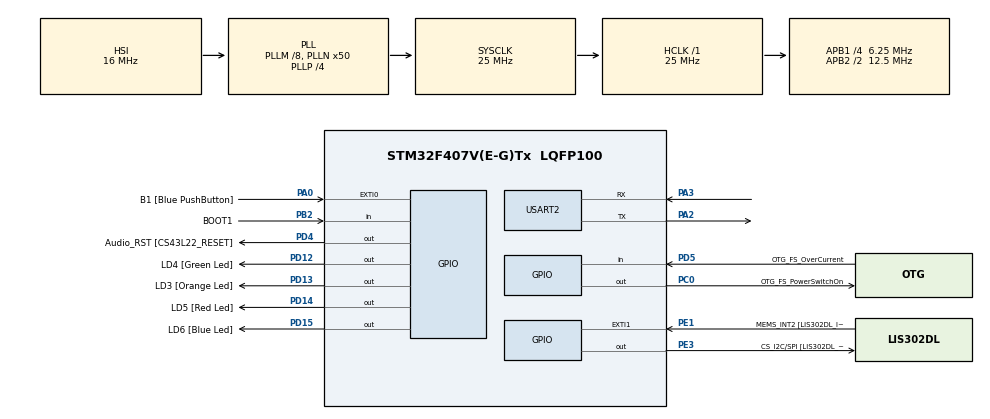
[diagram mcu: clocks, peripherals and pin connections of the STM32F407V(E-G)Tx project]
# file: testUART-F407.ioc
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Dma.Request0=USART2_RX
Dma.Request1=USART2_TX
Dma.USART2_RX.0.Direction=DMA_PERIPH_TO_MEMORY
Dma.USART2_RX.0.FIFOMode=DMA_FIFOMODE_DISABLE
Dma.USART2_RX.0.Instance=DMA1_Stream5
Dma.USART2_RX.0.MemDataAlignment=DMA_MDATAALIGN_BYTE
Dma.USART2_RX.0.MemInc=DMA_MINC_ENABLE
Dma.USART2_RX.0.Mode=DMA_CIRCULAR
Dma.USART2_RX.0.PeriphDataAlignment=DMA_PDATAALIGN_BYTE
Dma.USART2_RX.0.PeriphInc=DMA_PINC_DISABLE
Dma.USART2_RX.0.Priority=DMA_PRIORITY_LOW
Dma.USART2_TX.1.Direction=DMA_MEMORY_TO_PERIPH
Dma.USART2_TX.1.FIFOMode=DMA_FIFOMODE_DISABLE
Dma.USART2_TX.1.Instance=DMA1_Stream6
Dma.USART2_TX.1.MemDataAlignment=DMA_MDATAALIGN_BYTE
Dma.USART2_TX.1.MemInc=DMA_MINC_ENABLE
Dma.USART2_TX.1.Mode=DMA_NORMAL
Dma.USART2_TX.1.PeriphDataAlignment=DMA_PDATAALIGN_BYTE
Dma.USART2_TX.1.PeriphInc=DMA_PINC_DISABLE
Dma.USART2_TX.1.Priority=DMA_PRIORITY_LOW
Mcu.Family=STM32F4
Mcu.Name=STM32F407V(E-G)Tx
Mcu.Package=LQFP100
NVIC.DMA1_Stream5_IRQn=true\:0\:0\:false\:false\:true\:false\:true\:true
NVIC.DMA1_Stream6_IRQn=true\:0\:0\:false\:false\:true\:false\:true\:true
NVIC.PriorityGroup=NVIC_PRIORITYGROUP_4
NVIC.USART2_IRQn=true\:0\:0\:false\:false\:true\:true\:true\:true
PA0-WKUP.GPIO_Label=B1 [Blue PushButton]
PA0-WKUP.Signal=GPXTI0
PA10.GPIO_Label=OTG_FS_ID
PA10.GPIO_Mode=GPIO_MODE_AF_PP
PA10.GPIO_PuPd=GPIO_NOPULL
PA10.GPIO_Speed=GPIO_SPEED_FREQ_LOW
PA10.Signal=USB_OTG_FS_ID
PA11.GPIO_Label=OTG_FS_DM
PA11.GPIO_Mode=GPIO_MODE_AF_PP
PA11.GPIO_PuPd=GPIO_NOPULL
PA11.GPIO_Speed=GPIO_SPEED_FREQ_LOW
PA11.Signal=USB_OTG_FS_DM
PA12.GPIO_Label=OTG_FS_DP
PA12.GPIO_Mode=GPIO_MODE_AF_PP
PA12.GPIO_PuPd=GPIO_NOPULL
PA12.GPIO_Speed=GPIO_SPEED_FREQ_LOW
PA12.Signal=USB_OTG_FS_DP
PA13.GPIO_Label=SWDIO
PA13.Signal=SYS_JTMS-SWDIO
PA14.GPIO_Label=SWCLK
PA14.Signal=SYS_JTCK-SWCLK
PA2.Mode=Asynchronous
PA2.Signal=USART2_TX
PA3.Mode=Asynchronous
PA3.Signal=USART2_RX
PA4.GPIO_Label=I2S3_WS [CS43L22_LRCK]
PA4.GPIO_Mode=GPIO_MODE_AF_PP
PA4.GPIO_PuPd=GPIO_NOPULL
PA4.GPIO_Speed=GPIO_SPEED_FREQ_LOW
PA4.Signal=I2S3_WS
PA5.GPIO_Label=SPI1_SCK [LIS302DL_SCL/SPC]
PA5.GPIO_Mode=GPIO_MODE_AF_PP
PA5.GPIO_PuPd=GPIO_NOPULL
PA5.GPIO_Speed=GPIO_SPEED_FREQ_LOW
PA5.Signal=SPI1_SCK
PA6.GPIO_Label=SPI1_MISO [LIS302DL_SDO]
PA6.GPIO_Mode=GPIO_MODE_AF_PP
PA6.GPIO_PuPd=GPIO_NOPULL
PA6.GPIO_Speed=GPIO_SPEED_FREQ_LOW
PA6.Signal=SPI1_MISO
PA7.GPIO_Label=SPI1_MOSI [LIS302DL_SDA/SDI/SDO]
PA7.GPIO_Mode=GPIO_MODE_AF_PP
PA7.GPIO_PuPd=GPIO_NOPULL
PA7.GPIO_Speed=GPIO_SPEED_FREQ_LOW
PA7.Signal=SPI1_MOSI
PA9.GPIO_Label=VBUS_FS
PA9.GPIO_Mode=GPIO_MODE_INPUT
PA9.GPIO_PuPd=GPIO_NOPULL
PA9.Signal=USB_OTG_FS_VBUS
PB10.GPIO_Label=CLK_IN [MP45DT02_CLK]
PB10.GPIO_Mode=GPIO_MODE_AF_PP
PB10.GPIO_PuPd=GPIO_NOPULL
PB10.GPIO_Speed=GPIO_SPEED_FREQ_LOW
PB10.Signal=I2S2_CK
PB2.GPIO_Label=BOOT1
PB2.GPIO_Mode=GPIO_MODE_INPUT
PB2.GPIO_PuPd=GPIO_NOPULL
PB2.Signal=GPIO_Input
PB3.GPIO_Label=SWO
PB3.Signal=SYS_JTDO-SWO
PB6.GPIO_Label=Audio_SCL [CS43L22_SCL]
PB6.GPIO_Mode=GPIO_MODE_AF_OD
PB6.GPIO_PuPd=GPIO_NOPULL
PB6.GPIO_Speed=GPIO_SPEED_FREQ_LOW
PB6.Signal=I2C1_SCL
PB9.GPIO_Label=Audio_SDA [CS43L22_SDA]
PB9.GPIO_Mode=GPIO_MODE_AF_OD
PB9.GPIO_PuPd=GPIO_NOPULL
PB9.GPIO_Speed=GPIO_SPEED_FREQ_LOW
PB9.Signal=I2C1_SDA
PC0.GPIO_Label=OTG_FS_PowerSwitchOn
PC0.GPIO_PuPd=GPIO_NOPULL
PC0.GPIO_Speed=GPIO_SPEED_FREQ_LOW
PC0.PinState=GPIO_PIN_SET
PC0.Signal=GPIO_Output
PC10.GPIO_Label=I2S3_SCK [CS43L22_SCLK]
PC10.GPIO_Mode=GPIO_MODE_AF_PP
PC10.GPIO_PuPd=GPIO_NOPULL
PC10.GPIO_Speed=GPIO_SPEED_FREQ_LOW
PC10.Signal=I2S3_CK
PC12.GPIO_Label=I2S3_SD [CS43L22_SDIN]
PC12.GPIO_Mode=GPIO_MODE_AF_PP
PC12.GPIO_PuPd=GPIO_NOPULL
PC12.GPIO_Speed=GPIO_SPEED_FREQ_LOW
PC12.Signal=I2S3_SD
PC14-OSC32_IN.GPIO_Label=PC14-OSC32_IN
PC14-OSC32_IN.Signal=RCC_OSC32_IN
PC15-OSC32_OUT.GPIO_Label=PC15-OSC32_OUT
PC15-OSC32_OUT.Signal=RCC_OSC32_OUT
PC3.GPIO_Label=PDM_OUT [MP45DT02_DOUT]
PC3.GPIO_Mode=GPIO_MODE_AF_PP
PC3.GPIO_PuPd=GPIO_NOPULL
PC3.GPIO_Speed=GPIO_SPEED_FREQ_LOW
PC3.Signal=I2S2_SD
PC7.GPIO_Label=I2S3_MCK [CS43L22_MCLK]
PC7.GPIO_Mode=GPIO_MODE_AF_PP
PC7.GPIO_PuPd=GPIO_NOPULL
PC7.GPIO_Speed=GPIO_SPEED_FREQ_LOW
PC7.Signal=I2S3_MCK
PD12.GPIO_Label=LD4 [Green Led]
PD12.GPIO_PuPd=GPIO_NOPULL
PD12.GPIO_Speed=GPIO_SPEED_FREQ_LOW
PD12.Signal=GPIO_Output
PD13.GPIO_Label=LD3 [Orange Led]
PD13.GPIO_PuPd=GPIO_NOPULL
PD13.GPIO_Speed=GPIO_SPEED_FREQ_LOW
PD13.Signal=GPIO_Output
PD14.GPIO_Label=LD5 [Red Led]
PD14.GPIO_PuPd=GPIO_NOPULL
PD14.GPIO_Speed=GPIO_SPEED_FREQ_LOW
PD14.Signal=GPIO_Output
PD15.GPIO_Label=LD6 [Blue Led]
PD15.GPIO_PuPd=GPIO_NOPULL
PD15.GPIO_Speed=GPIO_SPEED_FREQ_LOW
PD15.Signal=GPIO_Output
PD4.GPIO_Label=Audio_RST [CS43L22_RESET]
PD4.GPIO_PuPd=GPIO_NOPULL
PD4.GPIO_Speed=GPIO_SPEED_FREQ_LOW
PD4.Signal=GPIO_Output
PD5.GPIO_Label=OTG_FS_OverCurrent
PD5.GPIO_Mode=GPIO_MODE_INPUT
PD5.GPIO_PuPd=GPIO_NOPULL
PD5.Signal=GPIO_Input
PE1.GPIO_Label=MEMS_INT2 [LIS302DL_INT2]
PE1.GPIO_ModeDefaultEXTI=GPIO_MODE_EVT_RISING
PE1.GPIO_PuPd=GPIO_NOPULL
PE1.Signal=GPXTI1
PE3.GPIO_Label=CS_I2C/SPI [LIS302DL_CS_I2C/SPI]
PE3.GPIO_PuPd=GPIO_NOPULL
PE3.GPIO_Speed=GPIO_SPEED_FREQ_LOW
PE3.Signal=GPIO_Output
PH0-OSC_IN.GPIO_Label=PH0-OSC_IN
PH0-OSC_IN.Signal=RCC_OSC_IN
PH1-OSC_OUT.GPIO_Label=PH1-OSC_OUT
PH1-OSC_OUT.Signal=RCC_OSC_OUT
ProjectManager.HeapSize=0x200
ProjectManager.StackSize=0x400
ProjectManager.TargetToolchain=MDK-ARM V5.32
RCC.48MHZClocksFreq_Value=14285714.285714285
RCC.AHBFreq_Value=25000000
RCC.APB1CLKDivider=RCC_HCLK_DIV4
RCC.APB1Freq_Value=6250000
RCC.APB1TimFreq_Value=12500000
RCC.APB2CLKDivider=RCC_HCLK_DIV2
RCC.APB2Freq_Value=12500000
RCC.APB2TimFreq_Value=25000000
RCC.CortexFreq_Value=25000000
RCC.HCLKFreq_Value=25000000
RCC.HSE_VALUE=8000000
RCC.HSI_VALUE=16000000
RCC.LSE_VALUE=32768
RCC.PLLM=8
RCC.PLLN=50
RCC.PLLP=RCC_PLLP_DIV4
RCC.PLLQ=7
RCC.SYSCLKFreq_VALUE=25000000
RCC.SYSCLKSource=RCC_SYSCLKSOURCE_PLLCLK
RCC.VCOOutputFreq_Value=100000000
USART2.VirtualMode=VM_ASYNC
board=STM32F407G-DISC1

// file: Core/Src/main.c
/* USER CODE BEGIN Header */
/**
  ******************************************************************************
  * @file           : main.c
  * @brief          : Main program body
  ******************************************************************************
  * @attention
  *
  * <h2><center>&copy; Copyright (c) 2019 STMicroelectronics.
  * All rights reserved.</center></h2>
  *
  * This software component is licensed by ST under BSD 3-Clause license,
  * the "License"; You may not use this file except in compliance with the
  * License. You may obtain a copy of the License at:
  *                        opensource.org/licenses/BSD-3-Clause
  *
  ******************************************************************************
  */
/* USER CODE END Header */
#include "main.h"
#include "string.h"
#include "stdint.h"
#include <stdio.h>
#include "stdlib.h"
#include "string.h"
#include "math.h"

/* USER CODE BEGIN Includes */
#include "string.h"
/* USER CODE END Includes */

/* USER CODE BEGIN PTD */

typedef struct {
	int hour;
	int min;
	int sec;
}TIME;

typedef struct {
	float latitude;
	char NS;
	float longitude;
	char EW;
}LOCATION;

typedef struct {
	int Day;
	int Mon;
	int Yr;
}DATE;

typedef struct {
	TIME tim;
	DATE date;
	float speed;
	float course;
	int isValid;
	LOCATION lcation;
}RMCSTRUCT;
typedef struct
{
  volatile uint8_t* buffer;
  uint16_t size;
  volatile uint8_t* tailPtr;
  DMA_HandleTypeDef* dmaHandle;
} RingBufferDmaU8_TypeDef;

RingBufferDmaU8_TypeDef rs232Ext2RxDMARing;
UART_HandleTypeDef huart2;
DMA_HandleTypeDef hdma_usart2_rx;
DMA_HandleTypeDef hdma_usart2_tx;
uint32_t avlMaxDMABufferUsage = 0;

uint8_t gsvSentence[2048];
#define READLOG_BLOCK_BUFFER_LENGHT  2048
uint8_t taxBuffer[128];

RMCSTRUCT rmc;
#define GMT 		000

int isRMCExist = 0;
int inx = 0;
int hr=0,min=0,day=0,mon=0,yr=0;
int daychange = 0;

////////////////////////

void RingBufferDmaU8_initUSARTRx(RingBufferDmaU8_TypeDef* ring, UART_HandleTypeDef* husart, uint8_t* buffer, uint16_t size) // cai dat dma
{
  ring->buffer = buffer;
  ring->size = size;
  ring->tailPtr = buffer;
  ring->dmaHandle = husart->hdmarx;
  HAL_UART_Receive_DMA(husart, buffer, size);
}

#ifdef USING_CCMRAM
__attribute__((section("ccmram")))
#endif
uint16_t RingBufferDmaU8_available(RingBufferDmaU8_TypeDef* ring) // kiem tra trang thai su dung dma
{
#ifdef __HAL_DMA_GET_COUNTER
  uint32_t leftToTransfer = __HAL_DMA_GET_COUNTER(ring->dmaHandle);
#else
  uint32_t leftToTransfer = ring->dmaHandle->Instance->CNDTR;
#endif
  volatile uint8_t const* head = ring->buffer + ring->size - leftToTransfer;
  volatile uint8_t const* tail = ring->tailPtr;
  if (head >= tail) {
    return head - tail;
  } else {
    return head - tail + ring->size;
  }
}

void rs232Ext2_InitializeRxDMA(void)// ham khoi tao lai DMA
{
	HAL_StatusTypeDef ret = HAL_UART_Abort(&huart2);
	if(ret != HAL_OK)
	{
		Error_Handler();
	}
	HAL_Delay(50);	//	50 is OK
	//memset(gnssDmaRingBufferMemory, 0x20, sizeof(gnssDmaRingBufferMemory));	// insert buffer with space character
	RingBufferDmaU8_initUSARTRx(&rs232Ext2RxDMARing, &huart2, gsvSentence, READLOG_BLOCK_BUFFER_LENGHT);
}

/* USER CODE END PTD */

UART_HandleTypeDef huart2;
DMA_HandleTypeDef hdma_usart2_rx;
DMA_HandleTypeDef hdma_usart2_tx;

/* USER CODE BEGIN PV */
uint8_t message1[] = "Hello from Task 1\n";
/* USER CODE END PV */

void SystemClock_Config(void);
static void MX_GPIO_Init(void);
static void MX_DMA_Init(void);
static void MX_USART2_UART_Init(void);
/* USER CODE BEGIN PFP */
void checkDecode(RMCSTRUCT* rmc){
	char long_str[10];
	sprintf(long_str, "%.4f", rmc->lcation.longitude);
	HAL_UART_Transmit(&huart2, (uint8_t*) "Longtitude: ", strlen("Longtitude: "), 1000);
	HAL_UART_Transmit(&huart2, (uint8_t*)long_str, 10,1000);
	HAL_UART_Transmit(&huart2, (uint8_t*) "\n", strlen("\n"), 1000);
	char lat_str[10];
	sprintf(lat_str, "%.4f", rmc->lcation.latitude);
	HAL_UART_Transmit(&huart2, (uint8_t*) "Latitude: ", strlen("Latitude: "), 1000);
	HAL_UART_Transmit(&huart2, (uint8_t*)lat_str, 10,1000);
	HAL_UART_Transmit(&huart2, (uint8_t*) "\n", strlen("\n"), 1000);
	char speed_str[10];
	sprintf(speed_str, "%.2f", rmc->speed);
	HAL_UART_Transmit(&huart2, (uint8_t*) "Speed: ", strlen("Speed: "), 1000);
	HAL_UART_Transmit(&huart2, (uint8_t*)speed_str, 10,1000);
	HAL_UART_Transmit(&huart2, (uint8_t*) "\n", strlen("\n"), 1000);
	char course_str[10];
	sprintf(course_str, "%.2f", rmc->course);
	HAL_UART_Transmit(&huart2, (uint8_t*) "Course: ", strlen("Course: "), 1000);
	HAL_UART_Transmit(&huart2, (uint8_t*)course_str, 4,1000);
	HAL_UART_Transmit(&huart2, (uint8_t*) "\n", strlen("\n"), 1000);
	char year_str[2];
	sprintf(year_str, "%d", rmc->date.Yr);
	char month_str[2];
	sprintf(month_str, "%d", rmc->date.Mon);
	char day_str[2];
	sprintf(day_str, "%d", rmc->date.Day);
	HAL_UART_Transmit(&huart2, (uint8_t*) "DATE: ", strlen("DATE: "), 1000);
	HAL_UART_Transmit(&huart2, (uint8_t*)day_str, 2,1000);
	HAL_UART_Transmit(&huart2, (uint8_t*)month_str, 2,1000);
	HAL_UART_Transmit(&huart2, (uint8_t*)year_str, 2,1000);
	HAL_UART_Transmit(&huart2, (uint8_t*) "\n", strlen("\n"), 1000);\
	char hour_str[2];
	sprintf(hour_str, "%d", rmc->tim.hour);
	char minute_str[2];
	sprintf(minute_str, "%d", rmc->tim.min);
	char second_str[2];
	sprintf(second_str, "%d", rmc->tim.sec);
	HAL_UART_Transmit(&huart2, (uint8_t*) "TIME: ", strlen("TIME: "), 1000);
	HAL_UART_Transmit(&huart2, (uint8_t*)hour_str, 2,1000);
	HAL_UART_Transmit(&huart2, (uint8_t*)minute_str, 2,1000);
	HAL_UART_Transmit(&huart2, (uint8_t*)second_str, 2,1000);
	HAL_UART_Transmit(&huart2, (uint8_t*) "\n", strlen("\n"), 1000);
}
/* USER CODE END PFP */

int main(void)
{

  /* USER CODE BEGIN 1 */
	uint16_t j = 1,k=0,cnt=0,check=0;
  /* USER CODE END 1 */

  /* MCU Configuration--------------------------------------------------------*/

  /* Reset of all peripherals, Initializes the Flash interface and the Systick. */
  HAL_Init();

  /* Configure the system clock */
  SystemClock_Config();

  /* Initialize all configured peripherals */
  MX_GPIO_Init();
  MX_DMA_Init();
  MX_USART2_UART_Init();
	HAL_UART_Receive_DMA(&huart2, gsvSentence, READLOG_BLOCK_BUFFER_LENGHT);
  /* Infinite loop */
  while (1)
  {

    /* USER CODE BEGIN 3 */

	HAL_GPIO_WritePin(GPIOD, GPIO_PIN_13, GPIO_PIN_SET);
	HAL_Delay(1000);
	for(size_t i = 0; i < 2048; i++){
		if (gsvSentence[i] == '$' && gsvSentence[i+1] == 'G' && gsvSentence[i+2] == 'N' && gsvSentence[i+3] == 'R' && gsvSentence[i+4] == 'M' && gsvSentence[i+5] == 'C') isRMCExist = 1;
	}
	if (isRMCExist == 1){
		HAL_UART_Transmit(&huart2, (uint8_t*) "RMC EXIST\n", strlen("RMC EXIST\n"), 1000);
		inx = 0;
		char buffer[12];
		int i = 0;
		while (gsvSentence[inx] != ',') inx++;  // 1st,
		inx++;
		while (gsvSentence[inx] != ',')
		{
		 	buffer[i] = gsvSentence[inx];
		 	i++;
		 	inx++;
		 }

		 hr = (atoi(buffer)/10000) + GMT/100;   // get the hours from the 6 digit number

		 min = ((atoi(buffer)/100)%100) + GMT%100;  // get the minutes from the 6 digit number

		 // Store the time in the RMC structure
		 rmc.tim.hour = hr;
		 rmc.tim.min = min;
		 rmc.tim.sec = atoi(buffer)%100;
		 // After time ,
		inx++;
		if (gsvSentence[inx] == 'A')  // Here 'A' Indicates the data is valid, and 'V' indicates invalid data
		{
			rmc.isValid = 1;
		}
		else
		{
			rmc.isValid = 0;
			return 1;
		}
		//Get latitude
		 inx++;
		 inx++;
		 memset(buffer, 0x00, 12);
		 i = 0;
		 while (gsvSentence[inx] != ','){
		 	buffer[i] = gsvSentence[inx];
		 	i++;
		 	inx++;
		 }
		// if (strlen(buffer) < 6) return 2;  // If the buffer length is not appropriate, return error
		 int16_t num = (atoi(buffer));   // change the buffer to the number. It will only convert upto decimal
		 int j = 0;
		 while (buffer[j] != '.') j++;   // Figure out how many digits before the decimal
		 j++;
		 int declen = (strlen(buffer))-j;  // calculate the number of digit after decimal
		 int dec = atoi ((char *) buffer+j);  // conver the decimal part a a separate number
		 float lat = (num/100.0) + (dec/pow(10, (declen+2)));  // 1234.56789 = 12.3456789
		 rmc.lcation.latitude = lat;  // save the lattitude data into the strucure
		 inx++;
		// rmc.lcation.NS = gsvSentence[inx];  // save the N/S into the structure

	// /***********************  GET LONGITUDE **********************/
		inx++;  // ',' after NS character
		inx++;  // Reach the first number in the longitude
		memset(buffer, '\0', 12);
		i=0;
		while (gsvSentence[inx] != ',')
		{
			buffer[i] = gsvSentence[inx];
			i++;
			inx++;
		}
		num = (atoi(buffer));  // change the buffer to the number. It will only convert upto decimal
		j = 0;
		while (buffer[j] != '.') j++;  // Figure out how many digits before the decimal
		j++;
		declen = (strlen(buffer))-j;  // calculate the number of digit after decimal
		dec = atoi ((char *) buffer+j);  // conver the decimal part a a separate number
		lat = (num/100.0) + (dec/pow(10, (declen+2)));  // 1234.56789 = 12.3456789
		rmc.lcation.longitude = lat;  // save the longitude data into the strucure
		inx++;
		rmc.lcation.EW = gsvSentence[inx];

		while (gsvSentence[inx] != ',') inx++;  // after EW ,

		// Get Speed
		inx++;
		i=0;
		memset(buffer, '\0', 12);
		 while (gsvSentence[inx] != ',')
		{
			buffer[i] = gsvSentence[inx];
			i++;
		 	inx++;
		}

		if (strlen (buffer) > 0){          // if the speed have some data
			int16_t num = (atoi(buffer));  // convert the data into the number
			int j = 0;
			while (buffer[j] != '.') j++;   // same as above
			j++;
			int declen = (strlen(buffer))-j;
			int dec = atoi ((char *) buffer+j);
			float lat = num + (dec/pow(10, (declen)));
			rmc.speed = lat;
		 }
		else rmc.speed = 0;

		//Get Course
		inx++;
		i=0;
		memset(buffer, '\0', 12);
		while (gsvSentence[inx] != ',')
		{
			buffer[i] = gsvSentence[inx];
			i++;
			inx++;
		}

		if (strlen (buffer) > 0){  // if the course have some data
			int16_t num = (atoi(buffer));   // convert the course data into the number
			int j = 0;
			while (buffer[j] != '.') j++;   // same as above
			j++;
			int declen = (strlen(buffer))-j;
			int dec = atoi ((char *) buffer+j);
			float lat = num + (dec/pow(10, (declen)));
			rmc.course = lat;
		}
		else
		{
			rmc.course = 0;
		}

		//Get Date
		inx++;
		i=0;
		memset(buffer, '\0', 12);
		while (gsvSentence[inx] != ',')
		{
			buffer[i] = gsvSentence[inx];
			i++;
			inx++;
		}

		// Date in the format 280222
		day = atoi(buffer)/10000;  // extract 28
		mon = (atoi(buffer)/100)%100;  // extract 02
		yr = atoi(buffer)%100;  // extract 22

		day = day+daychange;   // correction due to GMT shift

		// save the data into the structure
		rmc.date.Day = day;
		rmc.date.Mon = mon;
		rmc.date.Yr = yr;
		checkDecode(&rmc);
	}
	HAL_UART_Transmit(&huart2, message1, sizeof(message1), 100);
	HAL_UART_Transmit(&huart2, gsvSentence, 100, 1000);
	HAL_GPIO_WritePin(GPIOD, GPIO_PIN_13, GPIO_PIN_RESET);
	HAL_Delay(1000);
	if(isRMCExist == 1){
		memset(gsvSentence, 0x00, 2048);
		rs232Ext2_InitializeRxDMA();
		isRMCExist = 0;
	}

  /* USER CODE END 3 */
	}
}

void SystemClock_Config(void)
{
  RCC_OscInitTypeDef RCC_OscInitStruct = {0};
  RCC_ClkInitTypeDef RCC_ClkInitStruct = {0};

  /** Configure the main internal regulator output voltage
  */
  __HAL_RCC_PWR_CLK_ENABLE();
  __HAL_PWR_VOLTAGESCALING_CONFIG(PWR_REGULATOR_VOLTAGE_SCALE1);

  /** Initializes the RCC Oscillators according to the specified parameters
  * in the RCC_OscInitTypeDef structure.
  */
  RCC_OscInitStruct.OscillatorType = RCC_OSCILLATORTYPE_HSI;
  RCC_OscInitStruct.HSIState = RCC_HSI_ON;
  RCC_OscInitStruct.HSICalibrationValue = RCC_HSICALIBRATION_DEFAULT;
  RCC_OscInitStruct.PLL.PLLState = RCC_PLL_ON;
  RCC_OscInitStruct.PLL.PLLSource = RCC_PLLSOURCE_HSI;
  RCC_OscInitStruct.PLL.PLLM = 8;
  RCC_OscInitStruct.PLL.PLLN = 50;
  RCC_OscInitStruct.PLL.PLLP = RCC_PLLP_DIV4;
  RCC_OscInitStruct.PLL.PLLQ = 7;
  if (HAL_RCC_OscConfig(&RCC_OscInitStruct) != HAL_OK)
  {
    Error_Handler();
  }

  /** Initializes the CPU, AHB and APB buses clocks
  */
  RCC_ClkInitStruct.ClockType = RCC_CLOCKTYPE_HCLK|RCC_CLOCKTYPE_SYSCLK
                              |RCC_CLOCKTYPE_PCLK1|RCC_CLOCKTYPE_PCLK2;
  RCC_ClkInitStruct.SYSCLKSource = RCC_SYSCLKSOURCE_PLLCLK;
  RCC_ClkInitStruct.AHBCLKDivider = RCC_SYSCLK_DIV1;
  RCC_ClkInitStruct.APB1CLKDivider = RCC_HCLK_DIV4;
  RCC_ClkInitStruct.APB2CLKDivider = RCC_HCLK_DIV2;

  if (HAL_RCC_ClockConfig(&RCC_ClkInitStruct, FLASH_LATENCY_0) != HAL_OK)
  {
    Error_Handler();
  }
}

static void MX_USART2_UART_Init(void)
{

  huart2.Instance = USART2;
  huart2.Init.BaudRate = 115200;
  huart2.Init.WordLength = UART_WORDLENGTH_8B;
  huart2.Init.StopBits = UART_STOPBITS_1;
  huart2.Init.Parity = UART_PARITY_NONE;
  huart2.Init.Mode = UART_MODE_TX_RX;
  huart2.Init.HwFlowCtl = UART_HWCONTROL_NONE;
  huart2.Init.OverSampling = UART_OVERSAMPLING_16;
  if (HAL_UART_Init(&huart2) != HAL_OK)
  {
    Error_Handler();
  }

}

static void MX_DMA_Init(void)
{

  /* DMA controller clock enable */
  __HAL_RCC_DMA1_CLK_ENABLE();

  /* DMA interrupt init */
  /* DMA1_Stream5_IRQn interrupt configuration */
  HAL_NVIC_SetPriority(DMA1_Stream5_IRQn, 0, 0);
  HAL_NVIC_EnableIRQ(DMA1_Stream5_IRQn);
  /* DMA1_Stream6_IRQn interrupt configuration */
  HAL_NVIC_SetPriority(DMA1_Stream6_IRQn, 0, 0);
  HAL_NVIC_EnableIRQ(DMA1_Stream6_IRQn);

}

static void MX_GPIO_Init(void)
{
  GPIO_InitTypeDef GPIO_InitStruct = {0};

  /* GPIO Ports Clock Enable */
  __HAL_RCC_GPIOE_CLK_ENABLE();
  __HAL_RCC_GPIOC_CLK_ENABLE();
  __HAL_RCC_GPIOH_CLK_ENABLE();
  __HAL_RCC_GPIOA_CLK_ENABLE();
  __HAL_RCC_GPIOB_CLK_ENABLE();
  __HAL_RCC_GPIOD_CLK_ENABLE();

  /*Configure GPIO pin Output Level */
  HAL_GPIO_WritePin(CS_I2C_SPI_GPIO_Port, CS_I2C_SPI_Pin, GPIO_PIN_RESET);

  /*Configure GPIO pin Output Level */
  HAL_GPIO_WritePin(OTG_FS_PowerSwitchOn_GPIO_Port, OTG_FS_PowerSwitchOn_Pin, GPIO_PIN_SET);

  /*Configure GPIO pin Output Level */
  HAL_GPIO_WritePin(GPIOD, LD4_Pin|LD3_Pin|LD5_Pin|LD6_Pin
                          |Audio_RST_Pin, GPIO_PIN_RESET);

  /*Configure GPIO pin : CS_I2C_SPI_Pin */
  GPIO_InitStruct.Pin = CS_I2C_SPI_Pin;
  GPIO_InitStruct.Mode = GPIO_MODE_OUTPUT_PP;
  GPIO_InitStruct.Pull = GPIO_NOPULL;
  GPIO_InitStruct.Speed = GPIO_SPEED_FREQ_LOW;
  HAL_GPIO_Init(CS_I2C_SPI_GPIO_Port, &GPIO_InitStruct);

  /*Configure GPIO pin : OTG_FS_PowerSwitchOn_Pin */
  GPIO_InitStruct.Pin = OTG_FS_PowerSwitchOn_Pin;
  GPIO_InitStruct.Mode = GPIO_MODE_OUTPUT_PP;
  GPIO_InitStruct.Pull = GPIO_NOPULL;
  GPIO_InitStruct.Speed = GPIO_SPEED_FREQ_LOW;
  HAL_GPIO_Init(OTG_FS_PowerSwitchOn_GPIO_Port, &GPIO_InitStruct);

  /*Configure GPIO pin : PDM_OUT_Pin */
  GPIO_InitStruct.Pin = PDM_OUT_Pin;
  GPIO_InitStruct.Mode = GPIO_MODE_AF_PP;
  GPIO_InitStruct.Pull = GPIO_NOPULL;
  GPIO_InitStruct.Speed = GPIO_SPEED_FREQ_LOW;
  GPIO_InitStruct.Alternate = GPIO_AF5_SPI2;
  HAL_GPIO_Init(PDM_OUT_GPIO_Port, &GPIO_InitStruct);

  /*Configure GPIO pin : B1_Pin */
  GPIO_InitStruct.Pin = B1_Pin;
  GPIO_InitStruct.Mode = GPIO_MODE_IT_RISING;
  GPIO_InitStruct.Pull = GPIO_NOPULL;
  HAL_GPIO_Init(B1_GPIO_Port, &GPIO_InitStruct);

  /*Configure GPIO pin : I2S3_WS_Pin */
  GPIO_InitStruct.Pin = I2S3_WS_Pin;
  GPIO_InitStruct.Mode = GPIO_MODE_AF_PP;
  GPIO_InitStruct.Pull = GPIO_NOPULL;
  GPIO_InitStruct.Speed = GPIO_SPEED_FREQ_LOW;
  GPIO_InitStruct.Alternate = GPIO_AF6_SPI3;
  HAL_GPIO_Init(I2S3_WS_GPIO_Port, &GPIO_InitStruct);

  /*Configure GPIO pins : SPI1_SCK_Pin SPI1_MISO_Pin SPI1_MOSI_Pin */
  GPIO_InitStruct.Pin = SPI1_SCK_Pin|SPI1_MISO_Pin|SPI1_MOSI_Pin;
  GPIO_InitStruct.Mode = GPIO_MODE_AF_PP;
  GPIO_InitStruct.Pull = GPIO_NOPULL;
  GPIO_InitStruct.Speed = GPIO_SPEED_FREQ_LOW;
  GPIO_InitStruct.Alternate = GPIO_AF5_SPI1;
  HAL_GPIO_Init(GPIOA, &GPIO_InitStruct);

  /*Configure GPIO pin : BOOT1_Pin */
  GPIO_InitStruct.Pin = BOOT1_Pin;
  GPIO_InitStruct.Mode = GPIO_MODE_INPUT;
  GPIO_InitStruct.Pull = GPIO_NOPULL;
  HAL_GPIO_Init(BOOT1_GPIO_Port, &GPIO_InitStruct);

  /*Configure GPIO pin : CLK_IN_Pin */
  GPIO_InitStruct.Pin = CLK_IN_Pin;
  GPIO_InitStruct.Mode = GPIO_MODE_AF_PP;
  GPIO_InitStruct.Pull = GPIO_NOPULL;
  GPIO_InitStruct.Speed = GPIO_SPEED_FREQ_LOW;
  GPIO_InitStruct.Alternate = GPIO_AF5_SPI2;
  HAL_GPIO_Init(CLK_IN_GPIO_Port, &GPIO_InitStruct);

  /*Configure GPIO pins : LD4_Pin LD3_Pin LD5_Pin LD6_Pin
                           Audio_RST_Pin */
  GPIO_InitStruct.Pin = LD4_Pin|LD3_Pin|LD5_Pin|LD6_Pin
                          |Audio_RST_Pin;
  GPIO_InitStruct.Mode = GPIO_MODE_OUTPUT_PP;
  GPIO_InitStruct.Pull = GPIO_NOPULL;
  GPIO_InitStruct.Speed = GPIO_SPEED_FREQ_LOW;
  HAL_GPIO_Init(GPIOD, &GPIO_InitStruct);

  /*Configure GPIO pins : I2S3_MCK_Pin I2S3_SCK_Pin I2S3_SD_Pin */
  GPIO_InitStruct.Pin = I2S3_MCK_Pin|I2S3_SCK_Pin|I2S3_SD_Pin;
  GPIO_InitStruct.Mode = GPIO_MODE_AF_PP;
  GPIO_InitStruct.Pull = GPIO_NOPULL;
  GPIO_InitStruct.Speed = GPIO_SPEED_FREQ_LOW;
  GPIO_InitStruct.Alternate = GPIO_AF6_SPI3;
  HAL_GPIO_Init(GPIOC, &GPIO_InitStruct);

  /*Configure GPIO pin : VBUS_FS_Pin */
  GPIO_InitStruct.Pin = VBUS_FS_Pin;
  GPIO_InitStruct.Mode = GPIO_MODE_INPUT;
  GPIO_InitStruct.Pull = GPIO_NOPULL;
  HAL_GPIO_Init(VBUS_FS_GPIO_Port, &GPIO_InitStruct);

  /*Configure GPIO pins : OTG_FS_ID_Pin OTG_FS_DM_Pin OTG_FS_DP_Pin */
  GPIO_InitStruct.Pin = OTG_FS_ID_Pin|OTG_FS_DM_Pin|OTG_FS_DP_Pin;
  GPIO_InitStruct.Mode = GPIO_MODE_AF_PP;
  GPIO_InitStruct.Pull = GPIO_NOPULL;
  GPIO_InitStruct.Speed = GPIO_SPEED_FREQ_LOW;
  GPIO_InitStruct.Alternate = GPIO_AF10_OTG_FS;
  HAL_GPIO_Init(GPIOA, &GPIO_InitStruct);

  /*Configure GPIO pin : OTG_FS_OverCurrent_Pin */
  GPIO_InitStruct.Pin = OTG_FS_OverCurrent_Pin;
  GPIO_InitStruct.Mode = GPIO_MODE_INPUT;
  GPIO_InitStruct.Pull = GPIO_NOPULL;
  HAL_GPIO_Init(OTG_FS_OverCurrent_GPIO_Port, &GPIO_InitStruct);

  /*Configure GPIO pins : Audio_SCL_Pin Audio_SDA_Pin */
  GPIO_InitStruct.Pin = Audio_SCL_Pin|Audio_SDA_Pin;
  GPIO_InitStruct.Mode = GPIO_MODE_AF_OD;
  GPIO_InitStruct.Pull = GPIO_NOPULL;
  GPIO_InitStruct.Speed = GPIO_SPEED_FREQ_LOW;
  GPIO_InitStruct.Alternate = GPIO_AF4_I2C1;
  HAL_GPIO_Init(GPIOB, &GPIO_InitStruct);

  /*Configure GPIO pin : MEMS_INT2_Pin */
  GPIO_InitStruct.Pin = MEMS_INT2_Pin;
  GPIO_InitStruct.Mode = GPIO_MODE_EVT_RISING;
  GPIO_InitStruct.Pull = GPIO_NOPULL;
  HAL_GPIO_Init(MEMS_INT2_GPIO_Port, &GPIO_InitStruct);

}

void Error_Handler(void)
{
}
